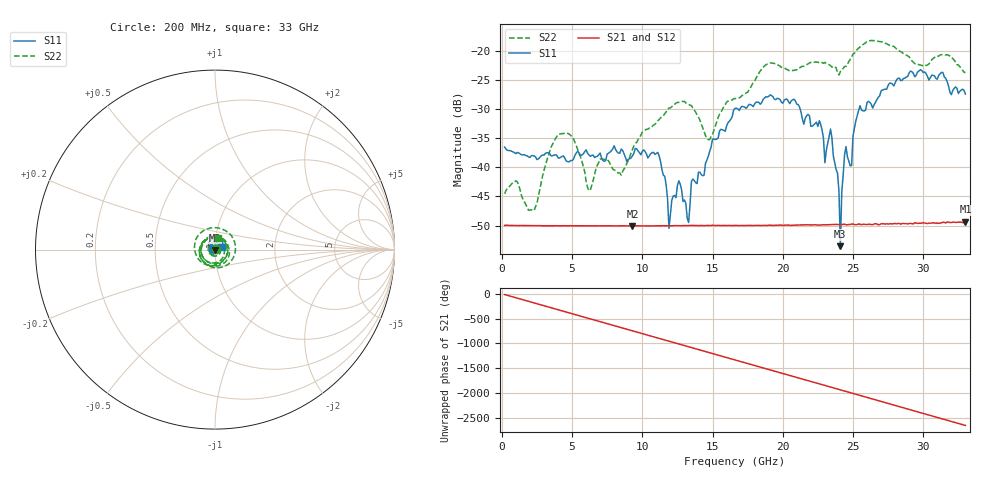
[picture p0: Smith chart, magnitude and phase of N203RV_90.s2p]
# GHZ S RI R 50
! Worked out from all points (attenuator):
!   329 points, 200 MHz to 33 GHz, reference 50 ohm
!   highest |S21| = -49.37 dB at 33 GHz (marker M1); lowest = -50.1 dB at 9.3 GHz (marker M2)
!   lowest |S11| = -53.6 dB at 24.1 GHz (marker M3), VSWR 1.00, Z = 50.1 - j0.189 ohm
!   |S11| at or under -10 dB: start of sweep to end of sweep
!   |S22| runs from -47.5 to -18.2 dB; largest |S21 - S12| = 7.2e-05
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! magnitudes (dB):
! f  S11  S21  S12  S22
! 200 MHz  -36.5  -50.0  -50.0  -44.5
! 2.3 GHz  -38.0  -50.0  -50.0  -47.4
! 4 GHz  -38.3  -50.0  -50.0  -34.3
! 5.7 GHz  -37.9  -50.0  -50.0  -38.9
! 6.3 GHz  -38.1  -50.1  -50.0  -44.0
! 9.3 GHz  -38.0  -50.1  -50.0  -36.9
! 11.2 GHz  -38.0  -50.0  -50.0  -31.8
! 11.9 GHz  -50.5  -50.0  -50.0  -29.8
! 12.6 GHz  -42.3  -50.0  -50.0  -28.8
! 13.3 GHz  -49.5  -50.0  -50.0  -29.2
! 13.5 GHz  -42.4  -50.0  -50.0  -29.4
! 14.7 GHz  -38.1  -50.0  -50.0  -35.3
! 16.6 GHz  -29.9  -50.0  -50.0  -28.2
! 22.1 GHz  -32.9  -49.9  -49.9  -22.0
! 23 GHz  -39.2  -49.9  -49.8  -21.9
! 23.4 GHz  -33.4  -49.9  -49.8  -22.5
! 23.9 GHz  -41.0  -49.8  -49.8  -23.7
! 24.1 GHz  -53.6  -49.9  -49.8  -23.5
! 24.2 GHz  -44.3  -49.8  -49.8  -23.3
! 24.5 GHz  -36.4  -49.9  -49.8  -22.6
! 27.6 GHz  -25.5  -49.7  -49.7  -19.0
! 33 GHz  -27.4  -49.4  -49.4  -23.7
